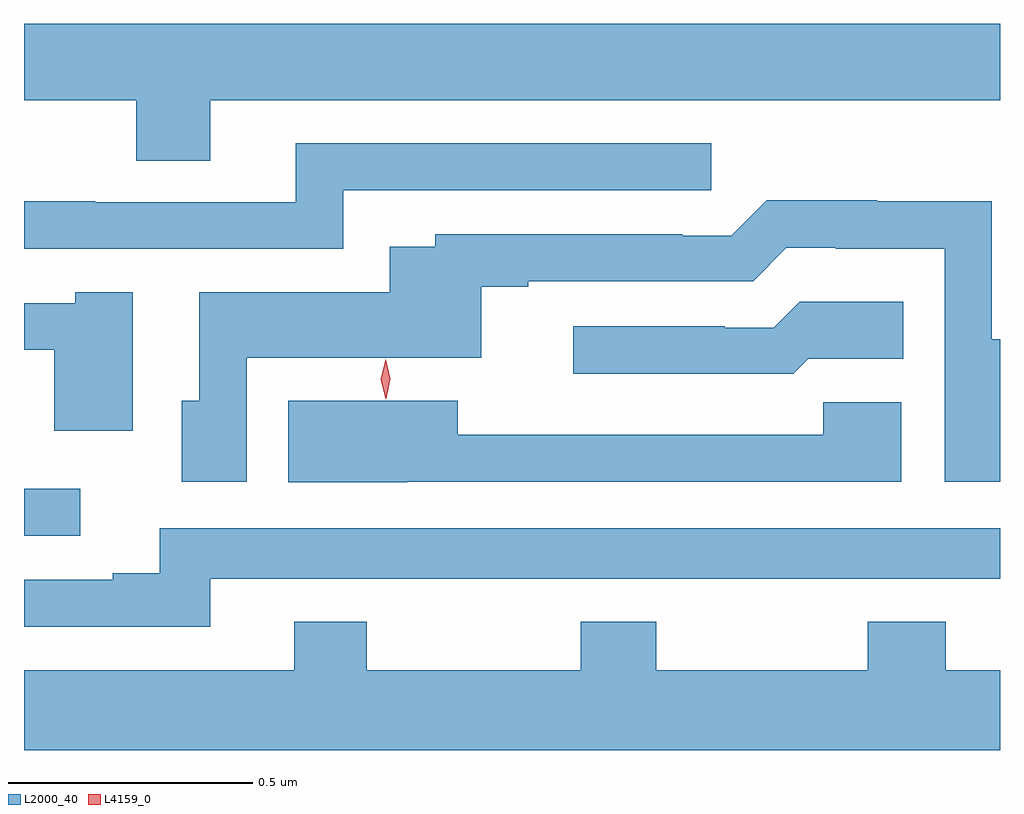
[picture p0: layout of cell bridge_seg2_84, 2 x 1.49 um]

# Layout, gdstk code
import gdstk
lib = gdstk.Library(unit=1e-6, precision=1e-09)
def R(c, l, rs):  # rectangles x0, y0, x1, y1
    for r in rs: c.add(gdstk.rectangle(r[:2], r[2:], *l))
def P(c, l, *ps):  # polygons
    for p in ps: c.add(gdstk.Polygon(p, *l))
L2000_40 = (2000, 40)
L4159_0 = (4159, 0)

bridge_seg2_84 = lib.new_cell('bridge_seg2_84')
R(bridge_seg2_84, L2000_40, [(292.467,660.063,292.582,660.159)])
P(bridge_seg2_84, L2000_40, [(292.849,660.956),(294.467,660.956),(294.467,661.112),(292.467,661.112),(292.467,660.956),(292.697,660.956),(292.697,660.832),(292.849,660.832)],
  [(293.121,660.771),(293.875,660.771),(293.875,660.867),(293.024,660.867),(293.024,660.747),(292.613,660.747),(292.613,660.749),(292.467,660.749),(292.467,660.651),(293.121,660.651)],
  [(292.923,660.428),(293.404,660.428),(293.404,660.573),(293.5,660.573),(293.5,660.585),(293.961,660.585),(294.029,660.653),(294.13,660.653),(294.13,660.651),(294.354,660.651),(294.354,660.174),(294.467,660.174),(294.467,660.466),(294.45,660.466),(294.45,660.749),(294.215,660.749),(294.215,660.751),(293.989,660.751),(293.916,660.678),(293.816,660.678),(293.816,660.681),(293.31,660.681),(293.31,660.655),(293.216,660.655),(293.216,660.562),(292.826,660.562),(292.826,660.34),(292.79,660.34),(292.79,660.174),(292.923,660.174)],
  [(292.69,660.562),(292.572,660.562),(292.572,660.54),(292.467,660.54),(292.467,660.444),(292.529,660.444),(292.529,660.278),(292.69,660.278)],
  [(294.074,660.426),(294.269,660.426),(294.269,660.543),(294.057,660.543),(294.003,660.489),(293.903,660.489),(293.903,660.492),(293.592,660.492),(293.592,660.395),(294.043,660.395)],
  [(293.252,660.174),(294.265,660.174),(294.265,660.337),(294.105,660.337),(294.105,660.27),(293.356,660.27),(293.356,660.34),(293.008,660.34),(293.008,660.173),(293.252,660.173)],
  [(292.849,659.975),(294.467,659.975),(294.467,660.079),(292.745,660.079),(292.745,659.986),(292.649,659.986),(292.649,659.973),(292.467,659.973),(292.467,659.877),(292.849,659.877)],
  [(294.467,659.788),(294.356,659.788),(294.356,659.887),(294.196,659.887),(294.196,659.788),(293.763,659.788),(293.763,659.887),(293.608,659.887),(293.608,659.788),(293.169,659.788),(293.169,659.887),(293.021,659.887),(293.021,659.788),(292.467,659.788),(292.467,659.624),(294.467,659.624)])
P(bridge_seg2_84, L4159_0, [(293.208,660.344),(293.208,660.344),(293.198,660.384),(293.208,660.425),(293.208,660.425),(293.208,660.425),(293.218,660.385),(293.209,660.344)])

lib.write_gds('bridge_seg2_84.gds')
